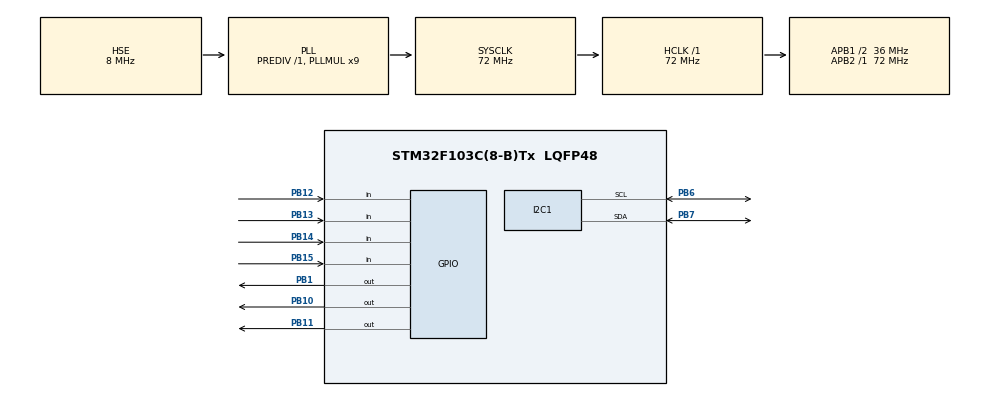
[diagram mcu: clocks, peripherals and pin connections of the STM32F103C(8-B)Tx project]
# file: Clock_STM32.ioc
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Mcu.Family=STM32F1
Mcu.Name=STM32F103C(8-B)Tx
Mcu.Package=LQFP48
NVIC.I2C1_EV_IRQn=true\:0\:0\:false\:false\:true\:true\:true\:true
NVIC.PriorityGroup=NVIC_PRIORITYGROUP_4
NVIC.TIM2_IRQn=true\:0\:0\:false\:false\:true\:true\:true\:true
PA13.Mode=Serial_Wire
PA13.Signal=SYS_JTMS-SWDIO
PA14.Mode=Serial_Wire
PA14.Signal=SYS_JTCK-SWCLK
PB1.Signal=GPIO_Output
PB10.Signal=GPIO_Output
PB11.Signal=GPIO_Output
PB12.Signal=GPIO_Input
PB13.Signal=GPIO_Input
PB14.Signal=GPIO_Input
PB15.Signal=GPIO_Input
PB6.Mode=I2C
PB6.Signal=I2C1_SCL
PB7.Mode=I2C
PB7.Signal=I2C1_SDA
PD0-OSC_IN.Mode=HSE-External-Oscillator
PD0-OSC_IN.Signal=RCC_OSC_IN
PD1-OSC_OUT.Mode=HSE-External-Oscillator
PD1-OSC_OUT.Signal=RCC_OSC_OUT
ProjectManager.HeapSize=0x200
ProjectManager.StackSize=0x400
ProjectManager.TargetToolchain=MDK-ARM V5.32
RCC.AHBFreq_Value=72000000
RCC.APB1CLKDivider=RCC_HCLK_DIV2
RCC.APB1Freq_Value=36000000
RCC.APB1TimFreq_Value=72000000
RCC.APB2Freq_Value=72000000
RCC.APB2TimFreq_Value=72000000
RCC.HCLKFreq_Value=72000000
RCC.PLLMUL=RCC_PLL_MUL9
RCC.PLLSourceVirtual=RCC_PLLSOURCE_HSE
RCC.SYSCLKFreq_VALUE=72000000
RCC.SYSCLKSource=RCC_SYSCLKSOURCE_PLLCLK
RCC.USBFreq_Value=72000000
TIM2.Period=999
TIM2.Prescaler=71
VP_TIM2_VS_ClockSourceINT.Mode=Internal
board=custom

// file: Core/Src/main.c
/* USER CODE BEGIN Header */
/**
  ******************************************************************************
  * @file           : main.c
  * @brief          : Main program body
  ******************************************************************************
  * @attention
  *
  * Copyright (c) 2025 STMicroelectronics.
  * All rights reserved.
  *
  * This software is licensed under terms that can be found in the LICENSE file
  * in the root directory of this software component.
  * If no LICENSE file comes with this software, it is provided AS-IS.
  *
  ******************************************************************************
  */
/* USER CODE END Header */
#include "main.h"
#include "DS3231.h"

/* USER CODE BEGIN PV */

TIM_HandleTypeDef htim2;
I2C_HandleTypeDef hi2c1;

//NÚT BAM
#define BTN_UP    GPIO_PIN_12
#define BTN_DOWN  GPIO_PIN_13
#define BTN_MODE  GPIO_PIN_14
#define BTN_SAVE  GPIO_PIN_15

//LED ---
#define portb   GPIOB
#define ck      GPIO_PIN_1
#define en      GPIO_PIN_10
#define dat     GPIO_PIN_11

// Ma LED (Index 10 là ma tat 0xFF)
unsigned char code7seg[11] = {0x28, 0xeb, 0x32, 0xa2, 0xe1, 0xa4, 0x24, 0xea, 0x20, 0xa0, 0xFF};
unsigned char led[]={0x80,0x40,0x20,0x10,0x08,0x04,0x02,0x01};

volatile int led_index = 0;
volatile int DisplayBuffer[6] = {0, 0, 0, 0, 0, 0};

// Bien thoi gian
uint8_t ds_sec, ds_min, ds_hour;
uint8_t ds_day, ds_date, ds_month, ds_year;

// Bien chinh gio
int che_do = 0; // 0: Xem, 1: Gio, 2: Phut
int temp_gio = 0;
int temp_phut = 0;

//	Flag danh dau: 0=Chua chinh gì, 1=Ðã bam nút Tang/Gi?m
int da_thay_doi = 0;

/* USER CODE END PV */

void SystemClock_Config(void);
static void MX_GPIO_Init(void);
static void MX_TIM2_Init(void);
static void MX_I2C1_Init(void);

/* USER CODE BEGIN 0 */
// --- HAM GIAO TIEP 595 ---
void xuat_595(unsigned int value)
{
	int i;
	for(i=0;i<8;i++)
	{
		if((value & 0x80) == 0x80) HAL_GPIO_WritePin(portb, dat, GPIO_PIN_SET);
		else                       HAL_GPIO_WritePin(portb, dat, GPIO_PIN_RESET);

		HAL_GPIO_WritePin(portb, ck, GPIO_PIN_SET);
		HAL_GPIO_WritePin(portb, ck, GPIO_PIN_RESET);
		value = value << 1;
	}
}

void display(unsigned int led_name, unsigned int led_data)
{
	xuat_595(led_data);
	xuat_595(led_name);
	HAL_GPIO_WritePin(portb, en, GPIO_PIN_SET);
	HAL_GPIO_WritePin(portb, en, GPIO_PIN_RESET);
}

// --- HAM TACH SO ---
void CapNhatBufferThoiGian(int h, int m, int s)
{
    DisplayBuffer[0] = h / 10; DisplayBuffer[1] = h % 10;
    DisplayBuffer[2] = m / 10; DisplayBuffer[3] = m % 10;
    DisplayBuffer[4] = s / 10; DisplayBuffer[5] = s % 10;
}

// --- NGAT TIMER QUÉT LED ---
void HAL_TIM_PeriodElapsedCallback(TIM_HandleTypeDef *htim)
{
	if(htim->Instance == TIM2)
	{
		int so_can_hien = DisplayBuffer[led_index];
		if(so_can_hien > 10) so_can_hien = 10;
		display(led[led_index], code7seg[so_can_hien]);

		led_index++;
		if(led_index > 5) led_index = 0;
	}
}

// HAM DOC NUT
int KiemTraNut(uint16_t GPIO_Pin)
{
    if(HAL_GPIO_ReadPin(GPIOB, GPIO_Pin) == GPIO_PIN_RESET)
    {
        HAL_Delay(20);
        if(HAL_GPIO_ReadPin(GPIOB, GPIO_Pin) == GPIO_PIN_RESET) return 1;
    }
    return 0;
}

// HAM LUU THOI GIAN THONG MINH
void LuuThoiGian(void)
{
    // Doc lai thoi gian thuc
    Get_Time(&ds_sec, &ds_min, &ds_hour, &ds_day, &ds_date, &ds_month, &ds_year);

    if(da_thay_doi == 1)
    {
        // CO CHINH SUA -> Reset giây ve 00
        Set_Time(0, temp_phut, temp_gio, ds_day, ds_date, ds_month, ds_year);
    }
    else
    {
        // KHONG CHINH SUA -> Luu lai giây dang chay
        Set_Time(ds_sec, temp_phut, temp_gio, ds_day, ds_date, ds_month, ds_year);
    }
}
/* USER CODE END 0 */

int main(void)
{
  HAL_Init();
  SystemClock_Config();
  MX_GPIO_Init();
  MX_TIM2_Init();
  MX_I2C1_Init();

  HAL_TIM_Base_Start_IT(&htim2);

  /* USER CODE BEGIN WHILE */
  while (1)
  {
    /* USER CODE BEGIN 3 */

    //DOC THOI GIAN
    static uint32_t last_read = 0;
    if(HAL_GetTick() - last_read > 200)
    {
        Get_Time(&ds_sec, &ds_min, &ds_hour, &ds_day, &ds_date, &ds_month, &ds_year);
        last_read = HAL_GetTick();
    }

    //XU LY CHE DO (MODE)
    if(KiemTraNut(BTN_MODE))
    {
        che_do++;

        if(che_do == 1) // Vao chinh Gio
        {
            temp_gio = ds_hour;
            temp_phut = ds_min;
            da_thay_doi = 0;
        }
        else if(che_do > 2) // Thoát
        {
            che_do = 0;
            LuuThoiGian();
        }

        while(HAL_GPIO_ReadPin(GPIOB, BTN_MODE) == GPIO_PIN_RESET);
    }

    //XU LY SAVE
    if(KiemTraNut(BTN_SAVE) && che_do != 0)
    {
         che_do = 0;
         LuuThoiGian();
         while(HAL_GPIO_ReadPin(GPIOB, BTN_SAVE) == GPIO_PIN_RESET);
    }

    //XU LY TANG/GIAM (DA FORMAT LAI)
    if(che_do == 1) // Chinh Gio
    {
        if(KiemTraNut(BTN_UP))
        {
            temp_gio++;
            if(temp_gio > 23) temp_gio = 0;
            HAL_Delay(200);
            da_thay_doi = 1;
        }

        if(KiemTraNut(BTN_DOWN))
        {
            temp_gio--;
            if(temp_gio < 0) temp_gio = 23;
            HAL_Delay(200);
            da_thay_doi = 1;
        }
    }
    else if(che_do == 2) // Chinh Phut
    {
        if(KiemTraNut(BTN_UP))
        {
            temp_phut++;
            if(temp_phut > 59) temp_phut = 0;
            HAL_Delay(200);
            da_thay_doi = 1;
        }

        if(KiemTraNut(BTN_DOWN))
        {
            temp_phut--;
            if(temp_phut < 0) temp_phut = 59;
            HAL_Delay(200);
            da_thay_doi = 1;
        }
    }

    //HIEN THI (DA FORMAT LAI)
    if(che_do == 0) // Xem gio
    {
        CapNhatBufferThoiGian(ds_hour, ds_min, ds_sec);
    }
    else // Che do chinh
    {
        // Nhap nháy 0.25s
        int trang_thai_tat = 0;
        if((HAL_GetTick() % 500) < 250)
        {
            trang_thai_tat = 1;
        }

        // Hien thi Gio
        if(che_do == 1 && trang_thai_tat)
        {
            DisplayBuffer[0] = 10;
            DisplayBuffer[1] = 10;
        }
        else
        {
            DisplayBuffer[0] = temp_gio / 10;
            DisplayBuffer[1] = temp_gio % 10;
        }

        // Hien thi Phút
        if(che_do == 2 && trang_thai_tat)
        {
            DisplayBuffer[2] = 10;
            DisplayBuffer[3] = 10;
        }
        else
        {
            DisplayBuffer[2] = temp_phut / 10;
            DisplayBuffer[3] = temp_phut % 10;
        }

        // Tat Giây khi ch?nh
        DisplayBuffer[4] = 10;
        DisplayBuffer[5] = 10;
    }

  }
  /* USER CODE END 3 */
}

void SystemClock_Config(void)
{
  RCC_OscInitTypeDef RCC_OscInitStruct = {0};
  RCC_ClkInitTypeDef RCC_ClkInitStruct = {0};

  /** Initializes the RCC Oscillators according to the specified parameters
  * in the RCC_OscInitTypeDef structure.
  */
  RCC_OscInitStruct.OscillatorType = RCC_OSCILLATORTYPE_HSE;
  RCC_OscInitStruct.HSEState = RCC_HSE_ON;
  RCC_OscInitStruct.HSEPredivValue = RCC_HSE_PREDIV_DIV1;
  RCC_OscInitStruct.HSIState = RCC_HSI_ON;
  RCC_OscInitStruct.PLL.PLLState = RCC_PLL_ON;
  RCC_OscInitStruct.PLL.PLLSource = RCC_PLLSOURCE_HSE;
  RCC_OscInitStruct.PLL.PLLMUL = RCC_PLL_MUL9;
  if (HAL_RCC_OscConfig(&RCC_OscInitStruct) != HAL_OK)
  {
    Error_Handler();
  }

  /** Initializes the CPU, AHB and APB buses clocks
  */
  RCC_ClkInitStruct.ClockType = RCC_CLOCKTYPE_HCLK|RCC_CLOCKTYPE_SYSCLK
                              |RCC_CLOCKTYPE_PCLK1|RCC_CLOCKTYPE_PCLK2;
  RCC_ClkInitStruct.SYSCLKSource = RCC_SYSCLKSOURCE_PLLCLK;
  RCC_ClkInitStruct.AHBCLKDivider = RCC_SYSCLK_DIV1;
  RCC_ClkInitStruct.APB1CLKDivider = RCC_HCLK_DIV2;
  RCC_ClkInitStruct.APB2CLKDivider = RCC_HCLK_DIV1;

  if (HAL_RCC_ClockConfig(&RCC_ClkInitStruct, FLASH_LATENCY_2) != HAL_OK)
  {
    Error_Handler();
  }
}

static void MX_I2C1_Init(void)
{

  hi2c1.Instance = I2C1;
  hi2c1.Init.ClockSpeed = 100000;
  hi2c1.Init.DutyCycle = I2C_DUTYCYCLE_2;
  hi2c1.Init.OwnAddress1 = 0;
  hi2c1.Init.AddressingMode = I2C_ADDRESSINGMODE_7BIT;
  hi2c1.Init.DualAddressMode = I2C_DUALADDRESS_DISABLE;
  hi2c1.Init.OwnAddress2 = 0;
  hi2c1.Init.GeneralCallMode = I2C_GENERALCALL_DISABLE;
  hi2c1.Init.NoStretchMode = I2C_NOSTRETCH_DISABLE;
  if (HAL_I2C_Init(&hi2c1) != HAL_OK)
  {
    Error_Handler();
  }

}

static void MX_TIM2_Init(void)
{

  TIM_ClockConfigTypeDef sClockSourceConfig = {0};
  TIM_MasterConfigTypeDef sMasterConfig = {0};

  htim2.Instance = TIM2;
  htim2.Init.Prescaler = 71;
  htim2.Init.CounterMode = TIM_COUNTERMODE_UP;
  htim2.Init.Period = 999;
  htim2.Init.ClockDivision = TIM_CLOCKDIVISION_DIV1;
  htim2.Init.AutoReloadPreload = TIM_AUTORELOAD_PRELOAD_DISABLE;
  if (HAL_TIM_Base_Init(&htim2) != HAL_OK)
  {
    Error_Handler();
  }
  sClockSourceConfig.ClockSource = TIM_CLOCKSOURCE_INTERNAL;
  if (HAL_TIM_ConfigClockSource(&htim2, &sClockSourceConfig) != HAL_OK)
  {
    Error_Handler();
  }
  sMasterConfig.MasterOutputTrigger = TIM_TRGO_RESET;
  sMasterConfig.MasterSlaveMode = TIM_MASTERSLAVEMODE_DISABLE;
  if (HAL_TIMEx_MasterConfigSynchronization(&htim2, &sMasterConfig) != HAL_OK)
  {
    Error_Handler();
  }

}

static void MX_GPIO_Init(void)
{
  GPIO_InitTypeDef GPIO_InitStruct = {0};

  /* GPIO Ports Clock Enable */
  __HAL_RCC_GPIOD_CLK_ENABLE();
  __HAL_RCC_GPIOB_CLK_ENABLE();
  __HAL_RCC_GPIOA_CLK_ENABLE();

  /*Configure GPIO pin Output Level */
  HAL_GPIO_WritePin(GPIOB, GPIO_PIN_1|GPIO_PIN_10|GPIO_PIN_11, GPIO_PIN_RESET);

  /*Configure GPIO pins : PB1 PB10 PB11 */
  GPIO_InitStruct.Pin = GPIO_PIN_1|GPIO_PIN_10|GPIO_PIN_11;
  GPIO_InitStruct.Mode = GPIO_MODE_OUTPUT_PP;
  GPIO_InitStruct.Pull = GPIO_NOPULL;
  GPIO_InitStruct.Speed = GPIO_SPEED_FREQ_LOW;
  HAL_GPIO_Init(GPIOB, &GPIO_InitStruct);

  /*Configure GPIO pins : PB12 PB13 PB14 PB15 */
  GPIO_InitStruct.Pin = GPIO_PIN_12|GPIO_PIN_13|GPIO_PIN_14|GPIO_PIN_15;
  GPIO_InitStruct.Mode = GPIO_MODE_INPUT;
  GPIO_InitStruct.Pull = GPIO_NOPULL;
  HAL_GPIO_Init(GPIOB, &GPIO_InitStruct);

}

void Error_Handler(void)
{
  __disable_irq();
  while (1)
  {
  }
}
